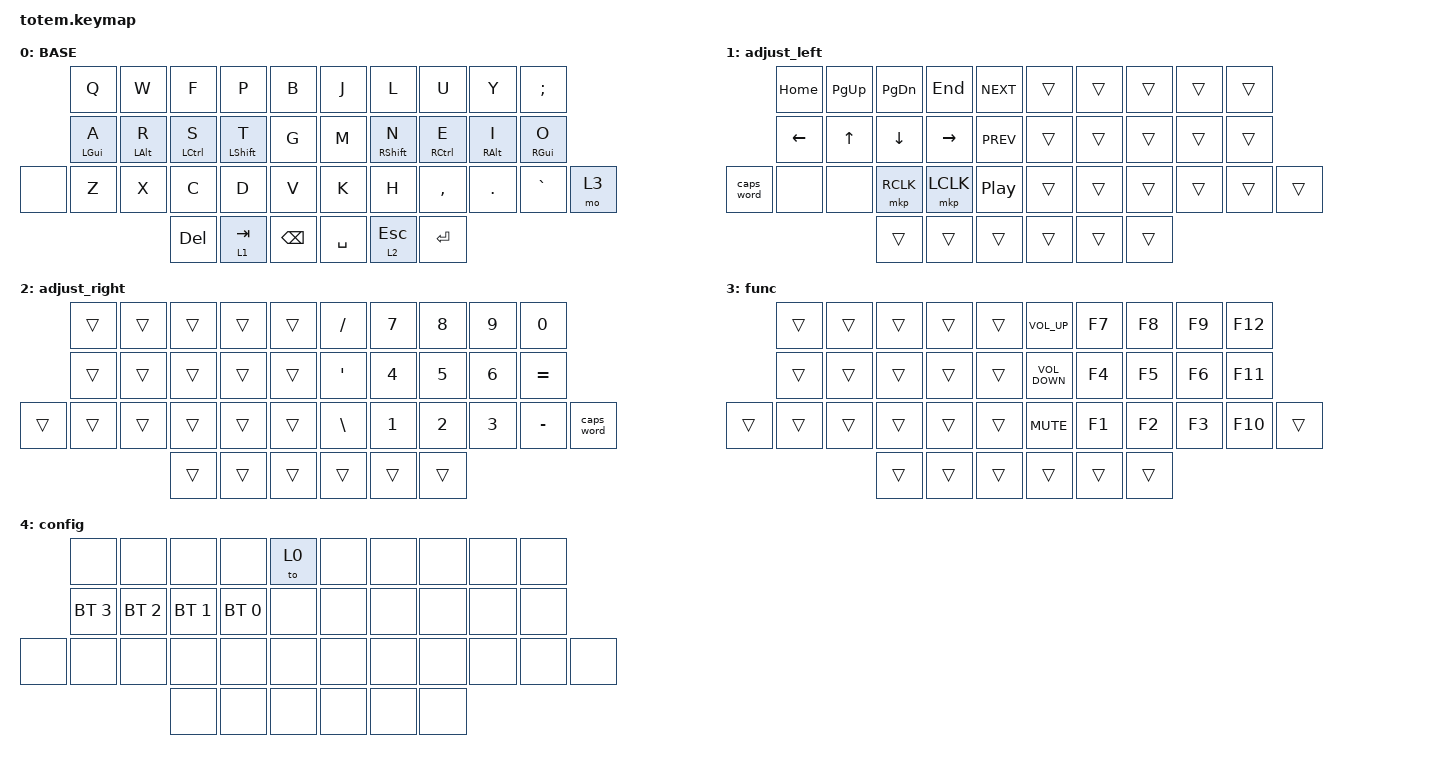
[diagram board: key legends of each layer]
//
//                                                        ▀▀▀▀▀     ▀▀▀▀▀          ▀▀█▀▀
//                                                        ▄▀▀▀▄  ▄  ▄▀▀▀▄  ▄  ▄▀▀▀▄  █  ▄▀▀▀▄
//                                                        █   █  █  █   █  █  █   █  █  █   █
//                                                         ▀▀▀   █   ▀▀▀   █   ▀▀▀   ▀   ▀▀▀
//                                                               █      ▄▄▄█▄▄▄    █   █  
//                                                               ▀      █  █  █     █▄█
//                                                             ▀▀▀▀▀    █  █  █      ▀
//                                                                      ▀  ▀  ▀
//
// ▄▄▄▄▄▄▄▄▄▄▄▄▄▄▄▄▄▄▄▄▄▄▄▄▄▄▄▄▄▄▄▄▄▄▄▄▄▄▄▄▄▄▄▄▄▄▄▄▄▄▄▄▄▄▄▄▄▄▄▄▄▄▄▄▄▄▄▄▄▄▄▄▄▄▄▄▄▄▄▄▄▄▄▄▄▄▄▄▄▄▄▄▄▄▄▄▄▄▄▄▄▄▄▄▄▄▄▄▄▄▄▄▄▄▄▄▄▄▄▄▄▄▄▄▄▄▄▄▄▄▄▄▄▄▄▄▄▄▄▄▄▄▄▄▄▄▄▄▄

#include <behaviors.dtsi>
#include <dt-bindings/zmk/bt.h>
#include <dt-bindings/zmk/keys.h>
#include <dt-bindings/zmk/mouse.h>

#define BASE 0
#define NAV  1
#define SYM  2
#define ADJ  3
#define TVP1 4
#define TVP2 5

&mt {
    quick-tap-ms = <100>;
    global-quick-tap;
    flavor = "tap-preferred";
    tapping-term-ms = <170>;
};

/ {
    combos {
        compatible = "zmk,combos";

        combo_esc {
            timeout-ms = <50>;
            key-positions = <0 1>;
            bindings = <&kp ESC>;
        };

        softsleep {
            bindings = <&soft_off>;
            key-positions = <21 23 24 25>;
        };

        config {
            bindings = <&to 4>;
            key-positions = <20 32 33 34>;
        };

        clear_profile {
            bindings = <&bt BT_CLR>;
            key-positions = <25 34>;
            layers = <4>;
        };

        reset {
            bindings = <&bootloader>;
            key-positions = <32 33 34 35 36 37>;
            require-prior-idle-ms = <2000>;
            layers = <4>;
        };

        openbrace {
            bindings = <&kp LEFT_BRACE>;
            key-positions = <14 33>;
        };

        closebrace {
            bindings = <&kp RIGHT_BRACE>;
            key-positions = <14 34>;
        };

        opensqr {
            bindings = <&kp LEFT_BRACKET>;
            key-positions = <25 33>;
        };

        closesqr {
            bindings = <&kp RIGHT_BRACKET>;
            key-positions = <25 34>;
        };

        openbrack {
            bindings = <&kp LEFT_PARENTHESIS>;
            key-positions = <4 33>;
        };

        closebrack {
            bindings = <&kp RIGHT_PARENTHESIS>;
            key-positions = <4 34>;
        };
    };

    keymap {
        compatible = "zmk,keymap";

        // ▄▄▄▄▄▄▄▄▄▄▄▄▄▄▄▄▄▄▄▄▄▄▄▄▄▄▄▄▄▄▄▄▄▄▄▄▄▄▄▄▄▄▄▄▄▄▄▄▄▄▄▄▄▄▄▄▄▄▄▄▄▄▄▄▄▄▄▄▄▄▄▄▄▄▄▄▄▄▄▄▄▄▄▄▄▄▄▄▄▄▄▄▄▄▄▄▄▄▄▄▄▄▄▄▄▄▄▄▄▄▄▄▄▄▄▄▄▄▄▄▄▄▄▄▄▄▄▄▄▄▄▄▄▄▄▄▄▄▄▄▄▄▄▄▄▄▄▄▄

        base_layer {
            // ┏━━━━━━━━━━━━━━━━━━━━━━━━━━━━━━━━━━━━━━━┓

            label = "BASE";

            // ┗━━━━━━━━━━━━━━━━━━━━━━━━━━━━━━━━━━━━━━━┛
            //             ┏━━━━━━━━━━━┳━━━━━━━━━━━┳━━━━━━━━━━━┳━━━━━━━━━━━┳━━━━━━━━━━━┓   ┏━━━━━━━━━━━┳━━━━━━━━━━━┳━━━━━━━━━━━┳━━━━━━━━━━━┳━━━━━━━━━━━┓
            //             ┃     Q     ┃     W     ┃     F     ┃     P     ┃     B     ┃   ┃     J     ┃     L     ┃     U     ┃     Y     ┃     ;     ┃
            //             ┣━━━━━━━━━━━╋━━━━━━━━━━━╋━━━━━━━━━━━╋━━━━━━━━━━━╋━━━━━━━━━━━┫   ┣━━━━━━━━━━━╋━━━━━━━━━━━╋━━━━━━━━━━━╋━━━━━━━━━━━╋━━━━━━━━━━━┫
            //             ┃     A     ┃     R     ┃     S     ┃     T     ┃     G     ┃   ┃     M     ┃     N     ┃     E     ┃     I     ┃     O     ┃
            // ┏━━━━━━━━━━━╋━━━━━━━━━━━╋━━━━━━━━━━━╋━━━━━━━━━━━╋━━━━━━━━━━━╋━━━━━━━━━━━┫   ┣━━━━━━━━━━━╋━━━━━━━━━━━╋━━━━━━━━━━━╋━━━━━━━━━━━╋━━━━━━━━━━━╋━━━━━━━━━━━┓
            // ┃   ESC     ┃     Z     ┃     X     ┃     C     ┃     D     ┃     V     ┃   ┃     K     ┃     H     ┃     ,     ┃     .     ┃     /     ┃     \     ┃
            // ┗━━━━━━━━━━━┻━━━━━━━━━━━┻━━━━━━━━━━━╋━━━━━━━━━━━╋━━━━━━━━━━━╋━━━━━━━━━━━┫   ┣━━━━━━━━━━━╋━━━━━━━━━━━╋━━━━━━━━━━━╋━━━━━━━━━━━┻━━━━━━━━━━━┻━━━━━━━━━━━┛
            //                                     ┃    DEL    ┃    TAB    ┃   BSPC    ┃   ┃    SPC    ┃    ESC    ┃   ENTER   ┃
            //                                     ┗━━━━━━━━━━━┻━━━━━━━━━━━┻━━━━━━━━━━━┛   ┗━━━━━━━━━━━┻━━━━━━━━━━━┻━━━━━━━━━━━┛

            bindings = <
       &kp Q           &kp W       &kp F        &kp P        &kp B       &kp J      &kp L        &kp U        &kp Y       &kp SEMICOLON
       &mt LEFT_GUI A  &mt LALT R  &mt LCTRL S  &mt LSHFT T  &kp G       &kp M      &mt RSHFT N  &mt RCTRL E  &mt RALT I  &mt RIGHT_GUI O
&none  &kp Z           &kp X       &kp C        &kp D        &kp V       &kp K      &kp H        &kp COMMA    &kp PERIOD  &kp GRAVE        &mo 3
                                   &kp DEL      &lt 1 TAB    &kp BSPC    &kp SPACE  &lt 2 ESC    &kp RET
            >;
        };

        adjust_left {
            // ┏━━━━━━━━━━━━━━━━━━━━━━━━━━━━━━━━━━━━━━━┓

            label = "adjust_left";

            // ┗━━━━━━━━━━━━━━━━━━━━━━━━━━━━━━━━━━━━━━━┛
            //             ┏━━━━━━━━━━━┳━━━━━━━━━━━┳━━━━━━━━━━━┳━━━━━━━━━━━┳━━━━━━━━━━━┓   ┏━━━━━━━━━━━┳━━━━━━━━━━━┳━━━━━━━━━━━┳━━━━━━━━━━━┳━━━━━━━━━━━┓
            //             ┃           ┃           ┃     UP    ┃           ┃     {     ┃   ┃     }     ┃     7     ┃     8     ┃     9     ┃     +     ┃
            //             ┣━━━━━━━━━━━╋━━━━━━━━━━━╋━━━━━━━━━━━╋━━━━━━━━━━━╋━━━━━━━━━━━┫   ┣━━━━━━━━━━━╋━━━━━━━━━━━╋━━━━━━━━━━━╋━━━━━━━━━━━╋━━━━━━━━━━━┫
            //             ┃   SHIFT   ┃   LEFT    ┃    DOWN   ┃   RIGHT   ┃     [     ┃   ┃     ]     ┃     4     ┃     5     ┃     6     ┃     -     ┃
            // ┏━━━━━━━━━━━╋━━━━━━━━━━━╋━━━━━━━━━━━╋━━━━━━━━━━━╋━━━━━━━━━━━╋━━━━━━━━━━━┫   ┣━━━━━━━━━━━╋━━━━━━━━━━━╋━━━━━━━━━━━╋━━━━━━━━━━━╋━━━━━━━━━━━╋━━━━━━━━━━━┓
            // ┃           ┃           ┃   P UP    ┃  C LOCK   ┃  P DOWN   ┃     (     ┃   ┃     )     ┃     1     ┃     2     ┃     3     ┃     *     ┃           ┃
            // ┗━━━━━━━━━━━┻━━━━━━━━━━━┻━━━━━━━━━━━╋━━━━━━━━━━━╋━━━━━━━━━━━╋━━━━━━━━━━━┫   ┣━━━━━━━━━━━╋━━━━━━━━━━━╋━━━━━━━━━━━╋━━━━━━━━━━━┻━━━━━━━━━━━┻━━━━━━━━━━━┛
            //                                     ┃           ┃    TAB    ┃    SPC    ┃   ┃    DEL    ┃     0     ┃           ┃
            //                                     ┗━━━━━━━━━━━┻━━━━━━━━━━━┻━━━━━━━━━━━┛   ┗━━━━━━━━━━━┻━━━━━━━━━━━┻━━━━━━━━━━━┛

            bindings = <
            &kp HOME  &kp PAGE_UP   &kp PAGE_DOWN  &kp END    &kp C_NEXT          &trans  &trans  &trans  &trans  &trans
            &kp LEFT  &kp UP_ARROW  &kp DOWN       &kp RIGHT  &kp C_PREV          &trans  &trans  &trans  &trans  &trans
&caps_word  &none     &none         &mkp RCLK      &mkp LCLK  &kp C_PLAY_PAUSE    &trans  &trans  &trans  &trans  &trans  &trans
                                    &trans         &trans     &trans              &trans  &trans  &trans
            >;
        };

        adjust_right {
            label = "adjust_right";
            bindings = <
        &trans  &trans  &trans  &trans  &trans    &kp SLASH      &kp N7  &kp N8  &kp N9  &kp N0
        &trans  &trans  &trans  &trans  &trans    &kp SQT        &kp N4  &kp N5  &kp N6  &kp EQUAL
&trans  &trans  &trans  &trans  &trans  &trans    &kp BACKSLASH  &kp N1  &kp N2  &kp N3  &kp MINUS  &caps_word
                        &trans  &trans  &trans    &trans         &trans  &trans
            >;
        };

        func {
            // ┏━━━━━━━━━━━━━━━━━━━━━━━━━━━━━━━━━━━━━━━┓

            label = "func";

            // ┗━━━━━━━━━━━━━━━━━━━━━━━━━━━━━━━━━━━━━━━┛
            //             ┏━━━━━━━━━━━┳━━━━━━━━━━━┳━━━━━━━━━━━┳━━━━━━━━━━━┳━━━━━━━━━━━┓   ┏━━━━━━━━━━━┳━━━━━━━━━━━┳━━━━━━━━━━━┳━━━━━━━━━━━┳━━━━━━━━━━━┓
            //             ┃   RESET   ┃ BT CLEAR  ┃  OUT TOG  ┃           ┃           ┃   ┃           ┃    F7     ┃    F8     ┃    F9     ┃    F12    ┃
            //             ┣━━━━━━━━━━━╋━━━━━━━━━━━╋━━━━━━━━━━━╋━━━━━━━━━━━╋━━━━━━━━━━━┫   ┣━━━━━━━━━━━╋━━━━━━━━━━━╋━━━━━━━━━━━╋━━━━━━━━━━━╋━━━━━━━━━━━┫
            //             ┃ BOOTLOAD  ┃ BT NEXT   ┃           ┃           ┃           ┃   ┃           ┃    F4     ┃    F5     ┃    F6     ┃    F11    ┃
            // ┏━━━━━━━━━━━╋━━━━━━━━━━━╋━━━━━━━━━━━╋━━━━━━━━━━━╋━━━━━━━━━━━╋━━━━━━━━━━━┫   ┣━━━━━━━━━━━╋━━━━━━━━━━━╋━━━━━━━━━━━╋━━━━━━━━━━━╋━━━━━━━━━━━╋━━━━━━━━━━━┓
            // ┃           ┃           ┃ BT PREV   ┃           ┃           ┃           ┃   ┃           ┃    F1     ┃    F2     ┃    F3     ┃    F10    ┃           ┃
            // ┗━━━━━━━━━━━┻━━━━━━━━━━━┻━━━━━━━━━━━╋━━━━━━━━━━━╋━━━━━━━━━━━╋━━━━━━━━━━━┫   ┣━━━━━━━━━━━╋━━━━━━━━━━━╋━━━━━━━━━━━╋━━━━━━━━━━━┻━━━━━━━━━━━┻━━━━━━━━━━━┛
            //                                     ┃           ┃           ┃           ┃   ┃           ┃           ┃           ┃
            //                                     ┗━━━━━━━━━━━┻━━━━━━━━━━━┻━━━━━━━━━━━┛   ┗━━━━━━━━━━━┻━━━━━━━━━━━┻━━━━━━━━━━━┛

            bindings = <
        &trans  &trans  &trans  &trans  &trans    &kp C_VOLUME_UP    &kp F7  &kp F8  &kp F9  &kp F12
        &trans  &trans  &trans  &trans  &trans    &kp C_VOLUME_DOWN  &kp F4  &kp F5  &kp F6  &kp F11
&trans  &trans  &trans  &trans  &trans  &trans    &kp C_MUTE         &kp F1  &kp F2  &kp F3  &kp F10  &trans
                        &trans  &trans  &trans    &trans             &trans  &trans
            >;
        };

        config {
            bindings = <
       &none         &none         &none         &none         &to 0    &none  &none  &none  &none  &none
       &bt BT_SEL 3  &bt BT_SEL 2  &bt BT_SEL 1  &bt BT_SEL 0  &none    &none  &none  &none  &none  &none
&none  &none         &none         &none         &none         &none    &none  &none  &none  &none  &none  &none
                                   &none         &none         &none    &none  &none  &none
            >;

            label = "config";
        };

        // ▄▄▄▄▄▄▄▄▄▄▄▄▄▄▄▄▄▄▄▄▄▄▄▄▄▄▄▄▄▄▄▄▄▄▄▄▄▄▄▄▄▄▄▄▄▄▄▄▄▄▄▄▄▄▄▄▄▄▄▄▄▄▄▄▄▄▄▄▄▄▄▄▄▄▄▄▄▄▄▄▄▄▄▄▄▄▄▄▄▄▄▄▄▄▄▄▄▄▄▄▄▄▄▄▄▄▄▄▄▄▄▄▄▄▄▄▄▄▄▄▄▄▄▄▄▄▄▄▄▄▄▄▄▄▄▄▄▄▄▄▄▄▄▄▄▄▄▄▄
        // ▄▄▄▄▄▄▄▄▄▄▄▄▄▄▄▄▄▄▄▄▄▄▄▄▄▄▄▄▄▄▄▄▄▄▄▄▄▄▄▄▄▄▄▄▄▄▄▄▄▄▄▄▄▄▄▄▄▄▄▄▄▄▄▄▄▄▄▄▄▄▄▄▄▄▄▄▄▄▄▄▄▄▄▄▄▄▄▄▄▄▄▄▄▄▄▄▄▄▄▄▄▄▄▄▄▄▄▄▄▄▄▄▄▄▄▄▄▄▄▄▄▄▄▄▄▄▄▄▄▄▄▄▄▄▄▄▄▄▄▄▄▄▄▄▄▄▄▄▄
    };
};
